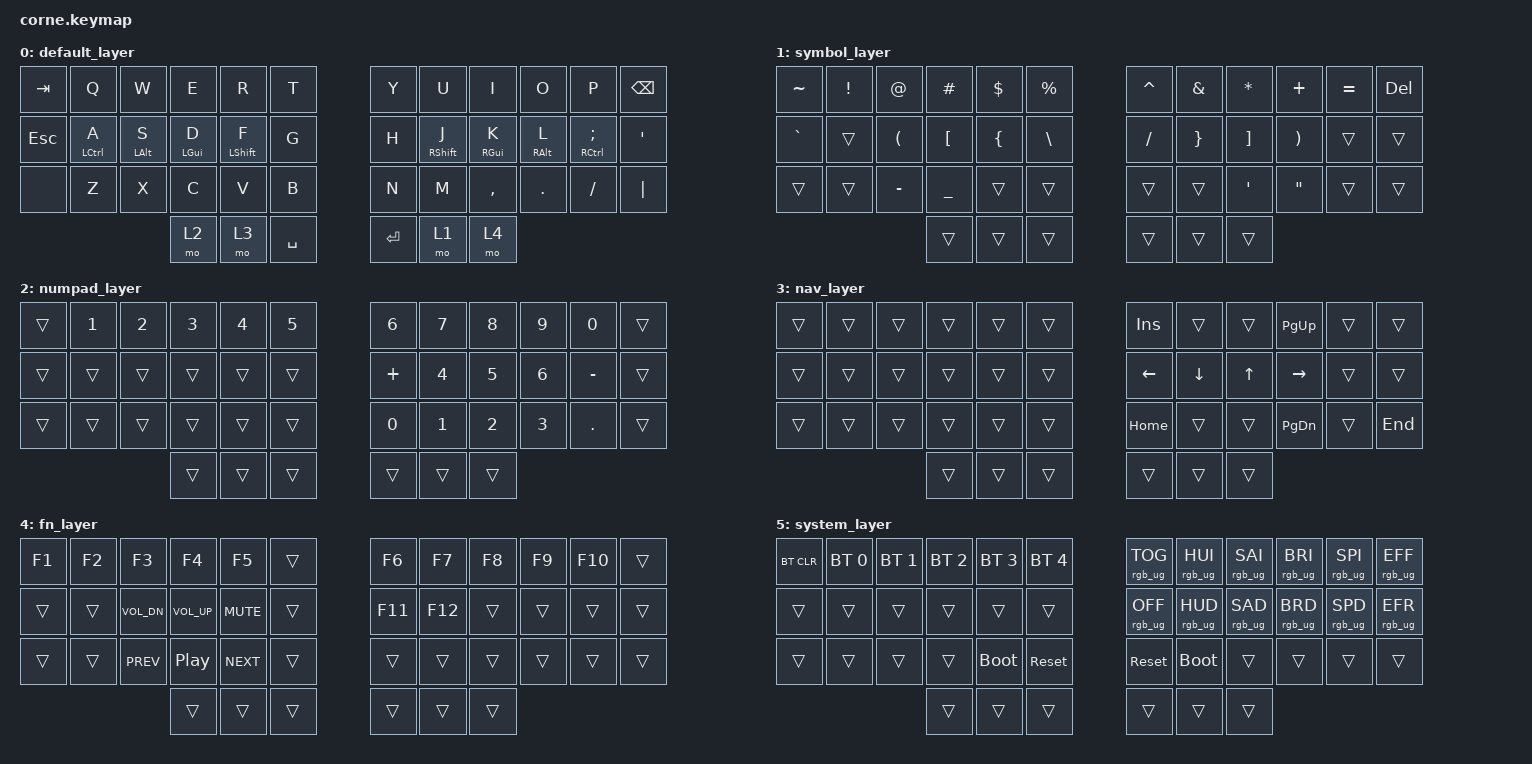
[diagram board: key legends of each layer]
/*
 * Copyright (c) 2020 The ZMK Contributors
 *
 * SPDX-License-Identifier: MIT
 */

#include <behaviors.dtsi>
#include <dt-bindings/zmk/keys.h>
#include <dt-bindings/zmk/bt.h>
#include <dt-bindings/zmk/rgb.h>

/* Per-key + underglow = 27 LEDs per half. Override the shield default (10). */
&led_strip {
        chain-length = <27>;
};

/ {
        behaviors {
                hm: homerow_mods {
                        compatible = "zmk,behavior-hold-tap";
                        #binding-cells = <2>;
                        tapping-term-ms = <200>;
                        quick-tap-ms = <175>;
                        flavor = "tap-preferred";
                        bindings = <&kp>, <&kp>;
                };
        };

        conditional_layers {
                compatible = "zmk,conditional-layers";
                tri_layer {
                        if-layers = <1 2>;
                        then-layer = <5>;
                };
        };

        keymap {
                compatible = "zmk,keymap";

                default_layer {
// -----------------------------------------------------------------------------------------
// | TAB  |  Q  |  W  |  E  |  R  |  T  |   |  Y  |  U  |  I  |  O  |  P  | BSPC |
// | ESC  | A/CT| S/AL| D/GU| F/SH|  G  |   |  H  | J/SH| K/GU| L/AL| ;/CT|  '   |
// |      |  Z  |  X  |  C  |  V  |  B  |   |  N  |  M  |  ,  |  .  |  /  |  |   |
//                    | NUM | NAV | SPC |   | ENT | SYM |  FN |
                        bindings = <
   &kp TAB    &kp Q       &kp W       &kp E       &kp R        &kp T       &kp Y  &kp U        &kp I       &kp O       &kp P          &kp BSPC
   &kp ESC    &hm LCTRL A &hm LALT S  &hm LGUI D  &hm LSHFT F  &kp G       &kp H  &hm RSHFT J  &hm RGUI K  &hm RALT L  &hm RCTRL SEMI &kp SQT
   &none      &kp Z       &kp X       &kp C       &kp V        &kp B       &kp N  &kp M        &kp COMMA   &kp DOT     &kp FSLH       &kp PIPE
                                       &mo 2       &mo 3        &kp SPACE   &kp RET &mo 1       &mo 4
                        >;
                };

                symbol_layer {
// -----------------------------------------------------------------------------------------
// |  ~   |  !  |  @  |  #  |  $  |  %  |   |  ^  |  &  |  *  |  +  |  =  | DEL  |
// |  `   |     |  (  |  [  |  {  |  \  |   |  /  |  }  |  ]  |  )  |     |      |
// |      |     |  -  |  _  |     |     |   |     |     |  '  |  "  |     |      |
//                    |     |     |     |   |     |     |     |
                        bindings = <
   &kp TILDE &kp EXCL &kp AT   &kp HASH  &kp DLLR &kp PRCNT   &kp CARET &kp AMPS &kp ASTRK &kp PLUS  &kp EQUAL &kp DEL
   &kp GRAVE &trans   &kp LPAR &kp LBKT  &kp LBRC &kp BSLH    &kp FSLH  &kp RBRC &kp RBKT  &kp RPAR  &trans    &trans
   &trans    &trans   &kp MINUS &kp UNDER &trans   &trans       &trans    &trans   &kp SQT   &kp DQT   &trans    &trans
                                &trans    &trans   &trans       &trans    &trans   &trans
                        >;
                };

                numpad_layer {
// -----------------------------------------------------------------------------------------
// |      |  1  |  2  |  3  |  4  |  5  |   |  6  |  7  |  8  |  9  |  0  |      |
// |      |     |     |     |     |     |   |  +  |  4  |  5  |  6  |  -  |      |
// |      |     |     |     |     |     |   |  0  |  1  |  2  |  3  |  .  |      |
//                    |     |     |     |   |     |     |     |
                        bindings = <
   &trans &kp N1 &kp N2 &kp N3 &kp N4 &kp N5   &kp N6   &kp N7 &kp N8 &kp N9 &kp N0    &trans
   &trans &trans &trans &trans &trans &trans    &kp PLUS &kp N4 &kp N5 &kp N6 &kp MINUS &trans
   &trans &trans &trans &trans &trans &trans    &kp N0   &kp N1 &kp N2 &kp N3 &kp DOT   &trans
                        &trans &trans &trans    &trans   &trans &trans
                        >;
                };

                nav_layer {
// -----------------------------------------------------------------------------------------
// |      |     |     |     |     |     |   | INS |     |     | PGUP|     |      |
// |      |     |     |     |     |     |   | LEFT| DOWN|  UP |RIGHT|     |      |
// |      |     |     |     |     |     |   | HOME|     |     | PGDN|     | END  |
//                    |     |     |     |   |     |     |     |
                        bindings = <
   &trans &trans &trans &trans &trans &trans   &kp INS  &trans   &trans &kp PG_UP &trans &trans
   &trans &trans &trans &trans &trans &trans   &kp LEFT &kp DOWN &kp UP &kp RIGHT &trans &trans
   &trans &trans &trans &trans &trans &trans   &kp HOME &trans   &trans &kp PG_DN &trans &kp END
                        &trans &trans &trans   &trans   &trans   &trans
                        >;
                };

                fn_layer {
// -----------------------------------------------------------------------------------------
// |  F1  |  F2 |  F3 |  F4 |  F5 |     |   |  F6 |  F7 |  F8 |  F9 | F10 |      |
// |      |     | VOL-| VOL+| MUTE|     |   | F11 | F12 |     |     |     |      |
// |      |     | PREV| PLAY| NEXT|     |   |     |     |     |     |     |      |
//                    |     |     |     |   |     |     |     |
                        bindings = <
   &kp F1     &kp F2     &kp F3       &kp F4       &kp F5     &trans   &kp F6  &kp F7  &kp F8 &kp F9 &kp F10 &trans
   &trans     &trans     &kp C_VOL_DN &kp C_VOL_UP &kp C_MUTE &trans   &kp F11 &kp F12 &trans &trans &trans  &trans
   &trans     &trans     &kp C_PREV   &kp C_PP     &kp C_NEXT &trans   &trans  &trans  &trans &trans &trans  &trans
                                      &trans       &trans     &trans   &trans  &trans  &trans
                        >;
                };

                system_layer {
// -----------------------------------------------------------------------------------------
// | BTCLR| BT1 | BT2 | BT3 | BT4 | BT5 |   | TOG | HUE+| SAT+| BRI+| SPD+| EFF> |
// |      |     |     |     |     |     |   | OFF | HUE-| SAT-| BRI-| SPD-| <EFF |
// |      |     |     |     |BOOTL|RESET|   |RESET|BOOTL|     |     |     |      |
//                    |     |     |     |   |     |     |     |
                        bindings = <
   &bt BT_CLR &bt BT_SEL 0 &bt BT_SEL 1 &bt BT_SEL 2 &bt BT_SEL 3 &bt BT_SEL 4   &rgb_ug RGB_TOG &rgb_ug RGB_HUI &rgb_ug RGB_SAI &rgb_ug RGB_BRI &rgb_ug RGB_SPI &rgb_ug RGB_EFF
   &trans     &trans       &trans       &trans       &trans       &trans           &rgb_ug RGB_OFF &rgb_ug RGB_HUD &rgb_ug RGB_SAD &rgb_ug RGB_BRD &rgb_ug RGB_SPD &rgb_ug RGB_EFR
   &trans     &trans       &trans       &trans       &bootloader  &sys_reset       &sys_reset      &bootloader     &trans          &trans          &trans          &trans
                                        &trans       &trans       &trans           &trans          &trans          &trans
                        >;
                };
        };
};
